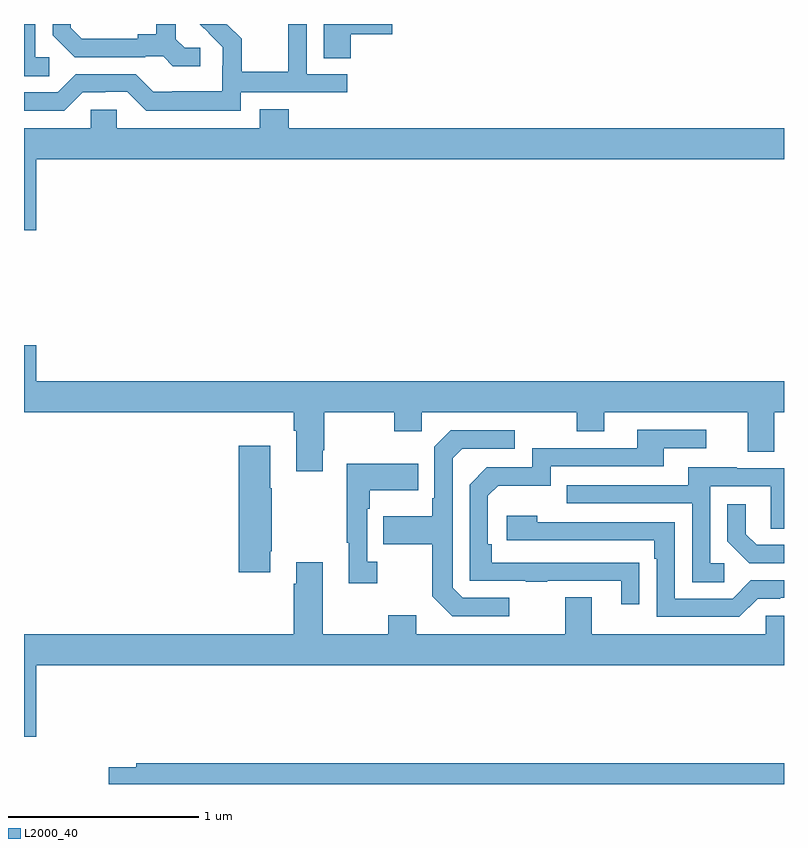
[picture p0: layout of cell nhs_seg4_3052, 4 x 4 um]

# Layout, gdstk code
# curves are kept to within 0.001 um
import gdstk
lib = gdstk.Library(unit=1e-6, precision=1e-09)
def P(c, l, *ps):  # polygons
    for p in ps: c.add(gdstk.Polygon(p, *l))
L2000_40 = (2000, 40)

nhs_seg4_3052 = lib.new_cell('nhs_seg4_3052')
P(nhs_seg4_3052, L2000_40, [(273.928,762.774),(273.846,762.774),(273.799,762.821),(273.799,762.9),(273.695,762.9),(273.695,762.845),(273.599,762.845),(273.599,762.822),(273.304,762.822),(273.247,762.879),(273.247,762.9),(273.15,762.9),(273.15,762.842),(273.266,762.726),(273.638,762.726),(273.638,762.729),(273.732,762.729),(273.784,762.677),(273.928,762.677)],
  [(274.721,762.845),(274.939,762.845),(274.939,762.9),(274.577,762.9),(274.577,762.721),(274.721,762.721)],
  [(274.14,762.54),(274.702,762.54),(274.702,762.636),(274.488,762.636),(274.488,762.9),(274.392,762.9),(274.392,762.872),(274.39,762.872),(274.39,762.649),(274.145,762.649),(274.145,762.823),(274.068,762.9),(274.065,762.897),(274.062,762.9),(273.926,762.9),(274.046,762.778),(274.046,762.681),(274.044,762.681),(274.044,762.547),(273.781,762.547),(273.781,762.543),(273.681,762.543),(273.588,762.636),(273.273,762.636),(273.177,762.54),(273,762.54),(273,762.444),(273.213,762.444),(273.309,762.54),(273.428,762.54),(273.428,762.543),(273.543,762.543),(273.643,762.443),(274.14,762.443)],
  [(273.133,762.726),(273.06,762.726),(273.06,762.9),(273,762.9),(273,762.625),(273.133,762.625)],
  [(273.064,762.188),(277,762.188),(277,762.352),(274.394,762.352),(274.394,762.451),(274.241,762.451),(274.241,762.352),(273.489,762.352),(273.489,762.45),(273.351,762.45),(273.351,762.352),(273,762.352),(273,761.814),(273.064,761.814)],
  [(274.573,760.657),(274.581,760.657),(274.581,760.856),(274.948,760.856),(274.948,760.757),(275.094,760.757),(275.094,760.856),(275.908,760.856),(275.908,760.757),(276.055,760.757),(276.055,760.856),(276.809,760.856),(276.809,760.648),(276.949,760.648),(276.949,760.856),(277,760.856),(277,761.02),(273.064,761.02),(273.064,761.209),(273,761.209),(273,760.856),(274.421,760.856),(274.421,760.76),(274.433,760.76),(274.433,760.545),(274.573,760.545)],
  [(276.239,760.064),(275.462,760.065),(275.462,760.162),(275.442,760.162),(275.442,760.416),(275.495,760.469),(275.772,760.469),(275.772,760.572),(276.367,760.572),(276.367,760.668),(276.592,760.668),(276.592,760.764),(276.227,760.764),(276.227,760.668),(275.676,760.668),(275.676,760.566),(275.436,760.566),(275.346,760.476),(275.346,759.969),(275.641,759.969),(275.641,759.964),(275.753,759.964),(275.753,759.969),(276.143,759.969),(276.143,759.846),(276.239,759.846)],
  [(275.554,759.879),(275.31,759.879),(275.256,759.933),(275.256,760.614),(275.307,760.665),(275.584,760.665),(275.584,760.761),(275.247,760.761),(275.16,760.674),(275.16,760.405),(275.148,760.405),(275.148,760.309),(274.891,760.309),(274.891,760.162),(275.148,760.162),(275.148,759.889),(275.253,759.783),(275.554,759.783)],
  [(274.297,760.126),(274.305,760.126),(274.305,760.457),(274.297,760.457),(274.297,760.681),(274.13,760.681),(274.13,760.014),(274.297,760.014)],
  [(274.858,760.07),(274.806,760.07),(274.806,760.349),(274.819,760.349),(274.819,760.445),(275.075,760.445),(275.075,760.585),(274.698,760.585),(274.698,760.169),(274.709,760.169),(274.709,759.957),(274.858,759.957)],
  [(276.685,760.062),(276.612,760.062),(276.612,760.467),(276.93,760.467),(276.93,760.243),(277,760.243),(277,760.563),(276.751,760.563),(276.751,760.567),(276.497,760.567),(276.497,760.473),(275.857,760.473),(275.857,760.377),(276.516,760.377),(276.516,759.961),(276.685,759.961)],
  [(277,760.158),(276.856,760.158),(276.799,760.215),(276.799,760.372),(276.702,760.372),(276.702,760.178),(276.818,760.062),(277,760.062)],
  [(276.861,759.876),(276.98,759.876),(276.98,759.879),(277,759.879),(277,759.972),(276.825,759.972),(276.729,759.876),(276.426,759.876),(276.426,760.278),(275.702,760.278),(275.702,760.312),(275.541,760.312),(275.541,760.182),(276.317,760.182),(276.317,760.085),(276.33,760.085),(276.33,759.78),(276.765,759.78)],
  [(273.064,759.524),(277,759.524),(277,759.786),(276.903,759.786),(276.903,759.688),(275.989,759.688),(275.989,759.883),(275.849,759.883),(275.849,759.688),(275.065,759.688),(275.065,759.787),(274.918,759.787),(274.918,759.688),(274.573,759.688),(274.573,760.066),(274.433,760.066),(274.433,759.953),(274.421,759.953),(274.421,759.688),(273,759.688),(273,759.15),(273.064,759.15)],
  [(277,759.008),(273.592,759.008),(273.592,758.988),(273.446,758.988),(273.446,758.9),(277,758.9)])

lib.write_gds('nhs_seg4_3052.gds')
